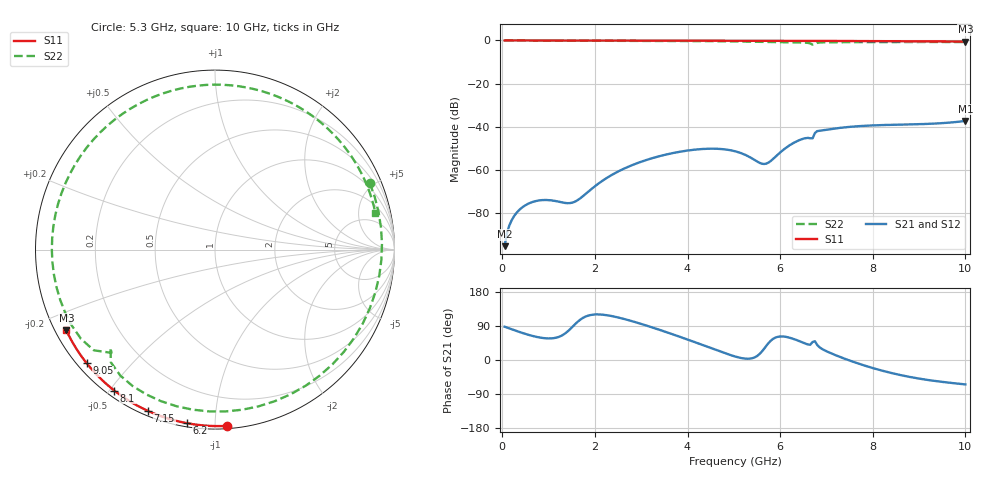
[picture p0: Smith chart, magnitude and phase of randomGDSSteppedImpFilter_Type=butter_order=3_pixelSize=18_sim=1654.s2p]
! freq	dB(S11)	phase(S11)	dB(S12)	phase(S12)
!  dB(S21)	phase(S21)	dB(S22)	phase(S22)
!S-par simulation data
#  GHz  S  DB  R 50
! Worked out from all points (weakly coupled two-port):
!   200 points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, 50 MHz to 10 GHz, reference 50 ohm
!   highest |S21| = -37.31 dB at 10 GHz (marker M1); lowest = -95.3 dB at 50 MHz (marker M2)
!   lowest |S11| = -0.5 dB at 10 GHz (marker M3), VSWR 33.82, Z = 1.57 - j12.7 ohm
!   |S11| at or under -10 dB: nowhere
!   |S22| runs from -1.9 to 0.0 dB; largest |S21 - S12| = 0
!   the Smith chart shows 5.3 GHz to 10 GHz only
!   S11 on the Smith chart (normalised r, x): 5.3 GHz: 0.02, -1.07; 6.2 GHz: 0.02, -0.85; 7.15 GHz: 0.02, -0.67; 8.1 GHz: 0.02, -0.51; 9.05 GHz: 0.03, -0.38; 10 GHz: 0.03, -0.25
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0.05  -0.00 -0.9  -95.34 87.8  -95.34 87.8  -0.00 -3.6
0.45  -0.01 -7.9  -77.07 70.7  -77.07 70.7  -0.05 -32.1
0.9  -0.02 -15.6  -73.94 57.7  -73.94 57.7  -0.08 -62.7
1.45  -0.03 -25.0  -75.40 79.7  -75.40 79.7  -0.11 -97.1
1.75  -0.04 -30.1  -72.02 111.7  -72.02 111.7  -0.13 -114.4
2.6  -0.06 -44.3  -59.70 109.2  -59.70 109.2  -0.16 -159.8
3.4  -0.08 -57.2  -53.60 79.4  -53.60 79.4  -0.21 158.8
4.35  -0.10 -72.0  -50.27 38.4  -50.27 38.4  -0.31 102.6
4.7  -0.11 -77.3  -50.28 22.6  -50.28 22.6  -0.38 77.2
5.05  -0.13 -82.6  -51.49 8.4  -51.49 8.4  -0.47 47.5
5.3  -0.14 -86.2  -53.57 3.3  -53.57 3.3  -0.55 23.3
5.7  -0.15 -92.1  -57.09 37.2  -57.09 37.2  -0.70 -20.7
6.2  -0.18 -99.2  -48.64 58.9  -48.64 58.9  -0.87 -80.4
6.45  -0.19 -102.8  -45.90 48.1  -45.90 48.1  -0.95 -109.5
6.7  -0.21 -106.3  -45.35 47.4  -45.35 47.4  -1.95 -136.7
6.8  -0.21 -107.7  -42.02 39.6  -42.02 39.6  -1.13 -140.3
7.15  -0.24 -112.5  -40.91 15.1  -40.91 15.1  -0.83 -175.6
7.55  -0.26 -118.0  -39.96 -3.6  -39.96 -3.6  -0.80 152.2
8.1  -0.31 -125.5  -39.29 -24.7  -39.29 -24.7  -0.76 114.5
8.35  -0.33 -128.9  -39.13 -32.8  -39.13 -32.8  -0.74 99.0
9.05  -0.40 -138.5  -38.77 -50.1  -38.77 -50.1  -0.71 59.7
10  -0.51 -151.5  -37.31 -64.4  -37.31 -64.4  -0.75 13.0
